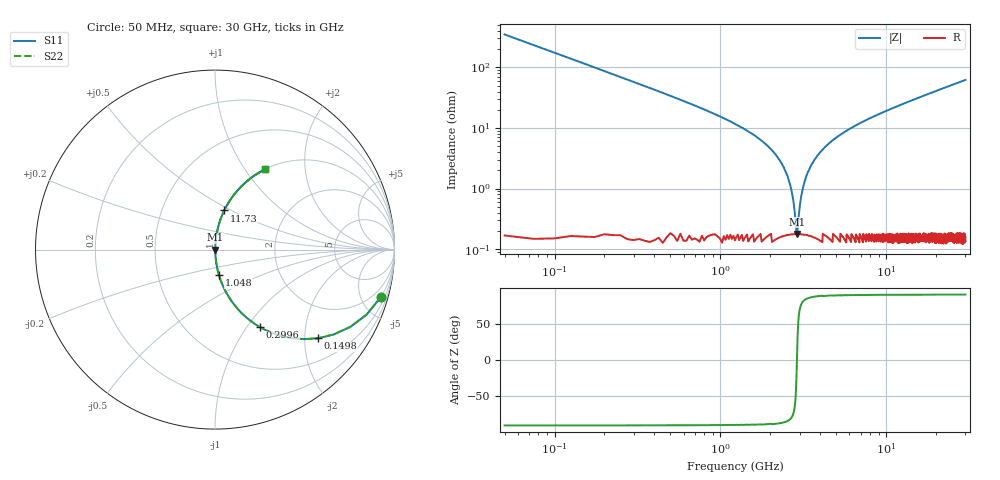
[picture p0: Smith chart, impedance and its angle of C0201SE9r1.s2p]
!	AVX Thin Film Operation 	Date: April 2014
!	Description: Accu-P® Series, Thin Film  SMD RF Capacitor
!	Part Number: 0201YK9R1BBSTR
# MHZ S MA R 50
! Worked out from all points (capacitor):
!   1201 points, 50 MHz to 30 GHz, reference 50 ohm
!   read as one part in series: C = 9.1 pF near 199.8 MHz
!   lowest |Z| = 177 mohm at 2.895 GHz (marker M1)
!   series resonance near 2.893 GHz, so ESL is about 330 pH
!   S11 on the Smith chart (normalised r, x): 50 MHz: 1.01, -6.99; 149.8 MHz: 1.00, -2.33; 299.6 MHz: 1.00, -1.16; 1.048 GHz: 1.00, -0.29; 11.73 GHz: 1.00, +0.46; 30 GHz: 1.00, +1.24
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50  0.961 -16.0  0.275 74.0  0.275 74.0  0.961 -16.0
149.833  0.758 -40.6  0.651 49.3  0.651 49.3  0.758 -40.6
299.583  0.5 -59.9  0.865 30.0  0.865 30.0  0.5 -59.9
549.167  0.293 -72.7  0.955 17.0  0.955 17.0  0.293 -72.7
1048.333  0.143 -81.2  0.988 8.2  0.988 8.2  0.143 -81.2
1896.917  0.052 -85.3  0.997 3.0  0.997 3.0  0.052 -85.3
2296.25  0.028 -85.3  0.998 1.6  0.998 1.6  0.028 -85.3
2570.792  0.014 -83.0  0.998 0.8  0.998 0.8  0.014 -83.0
2795.417  0.004431 -69.5  0.998 0.2  0.998 0.2  0.004431 -69.5
2895.25  0.00154 3.0  0.998 -0.0  0.998 -0.0  0.00154 3.0
2995.083  0.004448 69.5  0.998 -0.2  0.998 -0.2  0.004448 69.5
3219.708  0.013 82.5  0.998 -0.7  0.998 -0.7  0.013 82.5
3569.125  0.026 85.1  0.998 -1.5  0.998 -1.5  0.026 85.1
4143.167  0.044 85.5  0.997 -2.5  0.997 -2.5  0.044 85.5
5041.667  0.07 84.7  0.996 -4.0  0.996 -4.0  0.07 84.7
6913.542  0.118 82.5  0.991 -6.8  0.991 -6.8  0.118 82.5
10058.29  0.189 78.6  0.98 -10.9  0.98 -10.9  0.189 78.6
11730.5  0.224 76.7  0.973 -12.9  0.973 -12.9  0.224 76.7
15025  0.289 72.9  0.956 -16.8  0.956 -16.8  0.289 72.9
20016.67  0.378 67.5  0.924 -22.2  0.924 -22.2  0.378 67.5
25033.29  0.458 62.6  0.888 -27.3  0.888 -27.3  0.458 62.6
30000  0.527 58.1  0.849 -31.8  0.849 -31.8  0.527 58.1
